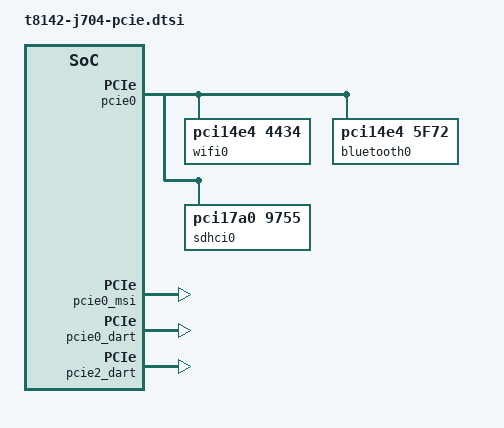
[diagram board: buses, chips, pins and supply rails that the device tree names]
// SPDX-License-Identifier: GPL-2.0+ OR MIT
/*
 * Internal PCIe: BCM4388 Wi-Fi/Bluetooth on apcie port 0 and the GL9755 SD
 * card reader on port 2. As on J813, the bootloader trains the links and
 * Linux uses the root ports as a generic ECAM host that owns the DARTs and
 * the endpoints. Nothing programs the ports' RID-to-SID tables, so every
 * function uses stream zero of its port's DART. Ranges, MSI maps and DART
 * IRQs are from the J704 ADT; port 0 matches J813.
 */

&{/} {
	pcie0: pcie@1cb0000000 {
		compatible = "pci-host-ecam-generic";
		device_type = "pci";
		#address-cells = <3>;
		#size-cells = <2>;
		bus-range = <0 2>;
		reg = <0x1c 0xb0000000 0 0x300000>;
		ranges = <0x43000000 0xb 0xc0000000 0xb 0xc0000000 0 0x20000000>,
			 <0x02000000 0 0x80000000 0xb 0x80000000 0 0x40000000>;
		dma-coherent;
		msi-parent = <&pcie0_msi>;
		iommu-map = <0x100 &pcie0_dart 0 1>,
			    <0x101 &pcie0_dart 0 1>,
			    <0x200 &pcie2_dart 0 1>;

		port00: pci@0,0 {
			device_type = "pci";
			reg = <0x0 0x0 0x0 0x0 0x0>;
			bus-range = <1 1>;
			#address-cells = <3>;
			#size-cells = <2>;
			ranges;

			wifi0: wifi@0,0 {
				compatible = "pci14e4,4434";
				reg = <0x10000 0x0 0x0 0x0 0x0>;
				brcm,board-type = "apple,linosa";
				/* To be filled by the loader */
				local-mac-address = [00 10 18 00 00 10];
				apple,antenna-sku = "XX";
			};

			bluetooth0: bluetooth@0,1 {
				compatible = "pci14e4,5f72";
				reg = <0x10100 0x0 0x0 0x0 0x0>;
				brcm,board-type = "apple,linosa";
				/* To be filled by the loader */
				local-bd-address = [00 00 00 00 00 00];
			};
		};

		port02: pci@2,0 {
			device_type = "pci";
			reg = <0x1000 0x0 0x0 0x0 0x0>;
			bus-range = <2 2>;
			#address-cells = <3>;
			#size-cells = <2>;
			ranges;

			sdhci0: mmc@0,0 {
				compatible = "pci17a0,9755";
				reg = <0x20000 0x0 0x0 0x0 0x0>;
				cd-inverted;
				wp-inverted;
			};
		};
	};
};

&{/soc} {
	/*
	 * The MSI maps of ports 0 and 2. They share the root complex's AIC
	 * range (ADT msi-vector-offset 1741); 32 vectors are enough for both.
	 */
	pcie0_msi: msi-controller@488028000 {
		compatible = "apple,t8142-pcie-msi";
		reg = <0x4 0x88028000 0x0 0x8000>,
		      <0x4 0x8a028000 0x0 0x8000>;
		msi-controller;
		msi-ranges = <&aic AIC_IRQ 1741 IRQ_TYPE_EDGE_RISING 32>;
	};
};

&pcie0_dart {
	status = "okay";
};

&pcie2_dart {
	status = "okay";
};
